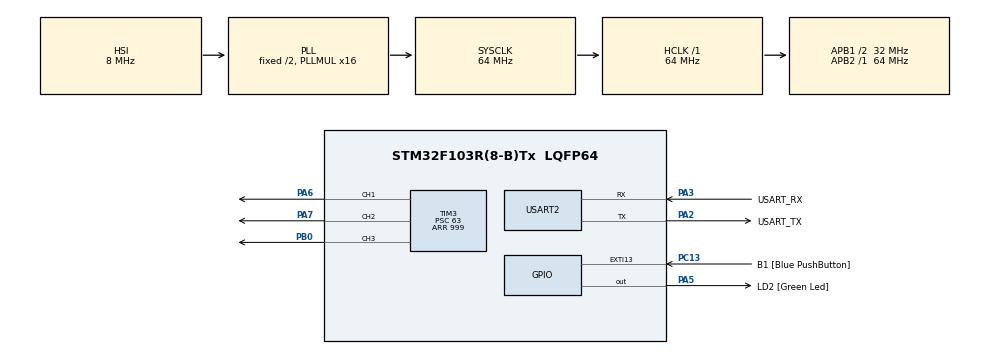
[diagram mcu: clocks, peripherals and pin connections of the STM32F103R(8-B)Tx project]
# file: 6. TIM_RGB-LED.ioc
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Mcu.Family=STM32F1
Mcu.Name=STM32F103R(8-B)Tx
Mcu.Package=LQFP64
NVIC.EXTI15_10_IRQn=true\:0\:0\:false\:false\:true\:true\:true\:true
NVIC.PriorityGroup=NVIC_PRIORITYGROUP_4
PA13.GPIO_Label=TMS
PA13.Mode=Serial_Wire
PA13.Signal=SYS_JTMS-SWDIO
PA14.GPIO_Label=TCK
PA14.Mode=Serial_Wire
PA14.Signal=SYS_JTCK-SWCLK
PA2.GPIO_Label=USART_TX
PA2.GPIO_Mode=GPIO_MODE_AF_PP
PA2.GPIO_PuPd=GPIO_NOPULL
PA2.GPIO_Speed=GPIO_SPEED_FREQ_LOW
PA2.Mode=Asynchronous
PA2.Signal=USART2_TX
PA3.GPIO_Label=USART_RX
PA3.GPIO_Mode=GPIO_MODE_AF_PP
PA3.GPIO_PuPd=GPIO_NOPULL
PA3.GPIO_Speed=GPIO_SPEED_FREQ_LOW
PA3.Mode=Asynchronous
PA3.Signal=USART2_RX
PA5.GPIO_Label=LD2 [Green Led]
PA5.GPIO_ModeDefaultOutputPP=GPIO_MODE_OUTPUT_PP
PA5.GPIO_PuPd=GPIO_NOPULL
PA5.GPIO_Speed=GPIO_SPEED_FREQ_LOW
PA5.Signal=GPIO_Output
PA6.Signal=S_TIM3_CH1
PA7.Signal=S_TIM3_CH2
PB0.Signal=S_TIM3_CH3
PB3.GPIO_Label=SWO
PB3.Signal=SYS_JTDO-TRACESWO
PC13-TAMPER-RTC.GPIO_Label=B1 [Blue PushButton]
PC13-TAMPER-RTC.GPIO_PuPd=GPIO_NOPULL
PC13-TAMPER-RTC.Signal=GPXTI13
PC14-OSC32_IN.Signal=RCC_OSC32_IN
PC15-OSC32_OUT.Signal=RCC_OSC32_OUT
PD0-OSC_IN.Signal=RCC_OSC_IN
PD1-OSC_OUT.Signal=RCC_OSC_OUT
ProjectManager.HeapSize=0x200
ProjectManager.StackSize=0x400
ProjectManager.TargetToolchain=STM32CubeIDE
RCC.AHBFreq_Value=64000000
RCC.APB1CLKDivider=RCC_HCLK_DIV2
RCC.APB1Freq_Value=32000000
RCC.APB1TimFreq_Value=64000000
RCC.APB2Freq_Value=64000000
RCC.APB2TimFreq_Value=64000000
RCC.HCLKFreq_Value=64000000
RCC.PLLMUL=RCC_PLL_MUL16
RCC.RTCClockSelection=RCC_RTCCLKSOURCE_LSE
RCC.SYSCLKFreq_VALUE=64000000
RCC.SYSCLKSource=RCC_SYSCLKSOURCE_PLLCLK
RCC.USBFreq_Value=64000000
SH.S_TIM3_CH1.0=TIM3_CH1,PWM Generation1 CH1
SH.S_TIM3_CH2.0=TIM3_CH2,PWM Generation2 CH2
SH.S_TIM3_CH3.0=TIM3_CH3,PWM Generation3 CH3
TIM3.Channel-PWM\ Generation1\ CH1=TIM_CHANNEL_1
TIM3.Channel-PWM\ Generation2\ CH2=TIM_CHANNEL_2
TIM3.Channel-PWM\ Generation3\ CH3=TIM_CHANNEL_3
TIM3.Period=999
TIM3.Prescaler=63
USART2.VirtualMode=VM_ASYNC
VP_TIM3_VS_ClockSourceINT.Mode=Internal
board=NUCLEO-F103RB

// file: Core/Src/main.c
/* USER CODE BEGIN Header */
/**
  ******************************************************************************
  * @file           : main.c
  * @brief          : Main program body
  ******************************************************************************
  * @attention
  *
  * Copyright (c) 2025 STMicroelectronics.
  * All rights reserved.
  *
  * This software is licensed under terms that can be found in the LICENSE file
  * in the root directory of this software component.
  * If no LICENSE file comes with this software, it is provided AS-IS.
  *
  ******************************************************************************
  */
/* USER CODE END Header */
#include "main.h"

TIM_HandleTypeDef htim3;

UART_HandleTypeDef huart2;

void SystemClock_Config(void);
static void MX_GPIO_Init(void);
static void MX_USART2_UART_Init(void);
static void MX_TIM3_Init(void);

int main(void)
{

  /* MCU Configuration--------------------------------------------------------*/

  /* Reset of all peripherals, Initializes the Flash interface and the Systick. */
  HAL_Init();

  /* Configure the system clock */
  SystemClock_Config();

  /* Initialize all configured peripherals */
  MX_GPIO_Init();
  MX_USART2_UART_Init();
  MX_TIM3_Init();
  /* USER CODE BEGIN 2 */

  HAL_TIM_PWM_Start(&htim3, TIM_CHANNEL_1);
  HAL_TIM_PWM_Start(&htim3, TIM_CHANNEL_2);
  HAL_TIM_PWM_Start(&htim3, TIM_CHANNEL_3);

  /* USER CODE END 2 */

  /* Infinite loop */
  while (1)
  {

    /* USER CODE BEGIN 3 */
	  for (uint16_t i = 0; i < 1000; i++) {
		  __HAL_TIM_SET_COMPARE(&htim3, TIM_CHANNEL_1, 999 - i);
		  __HAL_TIM_SET_COMPARE(&htim3, TIM_CHANNEL_2, i);
		  HAL_Delay(5);
	  }

	  for (uint16_t i = 0; i < 1000; i++) {
		  __HAL_TIM_SET_COMPARE(&htim3, TIM_CHANNEL_2, 999 - i);
		  __HAL_TIM_SET_COMPARE(&htim3, TIM_CHANNEL_3, i);
		  HAL_Delay(5);
	  }

	  for (uint16_t i = 0; i < 1000; i++) {
		  __HAL_TIM_SET_COMPARE(&htim3, TIM_CHANNEL_3, 999 - i);
		  __HAL_TIM_SET_COMPARE(&htim3, TIM_CHANNEL_1, i);
		  HAL_Delay(5);
	  }
  }
  /* USER CODE END 3 */
}

void SystemClock_Config(void)
{
  RCC_OscInitTypeDef RCC_OscInitStruct = {0};
  RCC_ClkInitTypeDef RCC_ClkInitStruct = {0};

  /** Initializes the RCC Oscillators according to the specified parameters
  * in the RCC_OscInitTypeDef structure.
  */
  RCC_OscInitStruct.OscillatorType = RCC_OSCILLATORTYPE_HSI;
  RCC_OscInitStruct.HSIState = RCC_HSI_ON;
  RCC_OscInitStruct.HSICalibrationValue = RCC_HSICALIBRATION_DEFAULT;
  RCC_OscInitStruct.PLL.PLLState = RCC_PLL_ON;
  RCC_OscInitStruct.PLL.PLLSource = RCC_PLLSOURCE_HSI_DIV2;
  RCC_OscInitStruct.PLL.PLLMUL = RCC_PLL_MUL16;
  if (HAL_RCC_OscConfig(&RCC_OscInitStruct) != HAL_OK)
  {
    Error_Handler();
  }

  /** Initializes the CPU, AHB and APB buses clocks
  */
  RCC_ClkInitStruct.ClockType = RCC_CLOCKTYPE_HCLK|RCC_CLOCKTYPE_SYSCLK
                              |RCC_CLOCKTYPE_PCLK1|RCC_CLOCKTYPE_PCLK2;
  RCC_ClkInitStruct.SYSCLKSource = RCC_SYSCLKSOURCE_PLLCLK;
  RCC_ClkInitStruct.AHBCLKDivider = RCC_SYSCLK_DIV1;
  RCC_ClkInitStruct.APB1CLKDivider = RCC_HCLK_DIV2;
  RCC_ClkInitStruct.APB2CLKDivider = RCC_HCLK_DIV1;

  if (HAL_RCC_ClockConfig(&RCC_ClkInitStruct, FLASH_LATENCY_2) != HAL_OK)
  {
    Error_Handler();
  }
}

static void MX_TIM3_Init(void)
{

  TIM_ClockConfigTypeDef sClockSourceConfig = {0};
  TIM_MasterConfigTypeDef sMasterConfig = {0};
  TIM_OC_InitTypeDef sConfigOC = {0};

  htim3.Instance = TIM3;
  htim3.Init.Prescaler = 63;
  htim3.Init.CounterMode = TIM_COUNTERMODE_UP;
  htim3.Init.Period = 999;
  htim3.Init.ClockDivision = TIM_CLOCKDIVISION_DIV1;
  htim3.Init.AutoReloadPreload = TIM_AUTORELOAD_PRELOAD_DISABLE;
  if (HAL_TIM_Base_Init(&htim3) != HAL_OK)
  {
    Error_Handler();
  }
  sClockSourceConfig.ClockSource = TIM_CLOCKSOURCE_INTERNAL;
  if (HAL_TIM_ConfigClockSource(&htim3, &sClockSourceConfig) != HAL_OK)
  {
    Error_Handler();
  }
  if (HAL_TIM_PWM_Init(&htim3) != HAL_OK)
  {
    Error_Handler();
  }
  sMasterConfig.MasterOutputTrigger = TIM_TRGO_RESET;
  sMasterConfig.MasterSlaveMode = TIM_MASTERSLAVEMODE_DISABLE;
  if (HAL_TIMEx_MasterConfigSynchronization(&htim3, &sMasterConfig) != HAL_OK)
  {
    Error_Handler();
  }
  sConfigOC.OCMode = TIM_OCMODE_PWM1;
  sConfigOC.Pulse = 0;
  sConfigOC.OCPolarity = TIM_OCPOLARITY_HIGH;
  sConfigOC.OCFastMode = TIM_OCFAST_DISABLE;
  if (HAL_TIM_PWM_ConfigChannel(&htim3, &sConfigOC, TIM_CHANNEL_1) != HAL_OK)
  {
    Error_Handler();
  }
  if (HAL_TIM_PWM_ConfigChannel(&htim3, &sConfigOC, TIM_CHANNEL_2) != HAL_OK)
  {
    Error_Handler();
  }
  if (HAL_TIM_PWM_ConfigChannel(&htim3, &sConfigOC, TIM_CHANNEL_3) != HAL_OK)
  {
    Error_Handler();
  }
  HAL_TIM_MspPostInit(&htim3);

}

static void MX_USART2_UART_Init(void)
{

  huart2.Instance = USART2;
  huart2.Init.BaudRate = 115200;
  huart2.Init.WordLength = UART_WORDLENGTH_8B;
  huart2.Init.StopBits = UART_STOPBITS_1;
  huart2.Init.Parity = UART_PARITY_NONE;
  huart2.Init.Mode = UART_MODE_TX_RX;
  huart2.Init.HwFlowCtl = UART_HWCONTROL_NONE;
  huart2.Init.OverSampling = UART_OVERSAMPLING_16;
  if (HAL_UART_Init(&huart2) != HAL_OK)
  {
    Error_Handler();
  }

}

static void MX_GPIO_Init(void)
{
  GPIO_InitTypeDef GPIO_InitStruct = {0};

  /* GPIO Ports Clock Enable */
  __HAL_RCC_GPIOC_CLK_ENABLE();
  __HAL_RCC_GPIOD_CLK_ENABLE();
  __HAL_RCC_GPIOA_CLK_ENABLE();
  __HAL_RCC_GPIOB_CLK_ENABLE();

  /*Configure GPIO pin Output Level */
  HAL_GPIO_WritePin(LD2_GPIO_Port, LD2_Pin, GPIO_PIN_RESET);

  /*Configure GPIO pin : B1_Pin */
  GPIO_InitStruct.Pin = B1_Pin;
  GPIO_InitStruct.Mode = GPIO_MODE_IT_RISING;
  GPIO_InitStruct.Pull = GPIO_NOPULL;
  HAL_GPIO_Init(B1_GPIO_Port, &GPIO_InitStruct);

  /*Configure GPIO pin : LD2_Pin */
  GPIO_InitStruct.Pin = LD2_Pin;
  GPIO_InitStruct.Mode = GPIO_MODE_OUTPUT_PP;
  GPIO_InitStruct.Pull = GPIO_NOPULL;
  GPIO_InitStruct.Speed = GPIO_SPEED_FREQ_LOW;
  HAL_GPIO_Init(LD2_GPIO_Port, &GPIO_InitStruct);

  /* EXTI interrupt init*/
  HAL_NVIC_SetPriority(EXTI15_10_IRQn, 0, 0);
  HAL_NVIC_EnableIRQ(EXTI15_10_IRQn);

}

void Error_Handler(void)
{
  __disable_irq();
  while (1)
  {
  }
}
